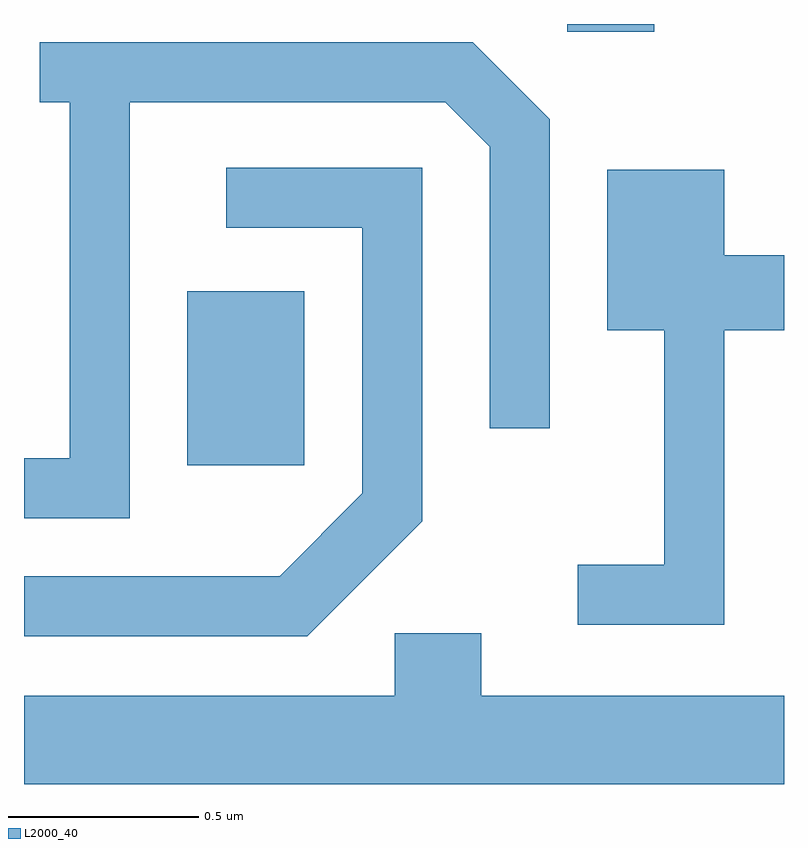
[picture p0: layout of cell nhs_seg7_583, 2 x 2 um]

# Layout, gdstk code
import gdstk
lib = gdstk.Library(unit=1e-6, precision=1e-09)
def R(c, l, rs):  # rectangles x0, y0, x1, y1
    for r in rs: c.add(gdstk.rectangle(r[:2], r[2:], *l))
def P(c, l, *ps):  # polygons
    for p in ps: c.add(gdstk.Polygon(p, *l))
L2000_40 = (2000, 40)

nhs_seg7_583 = lib.new_cell('nhs_seg7_583')
R(nhs_seg7_583, L2000_40, [(190.041,1704.091,190.349,1704.549), (191.041,1705.231,191.269,1705.252)])
P(nhs_seg7_583, L2000_40, [(189.889,1705.046),(190.719,1705.046),(190.836,1704.929),(190.836,1704.188),(190.994,1704.188),(190.994,1705.002),(190.792,1705.204),(189.653,1705.204),(189.653,1705.046),(189.731,1705.046),(189.731,1704.109),(189.611,1704.109),(189.611,1703.951),(189.889,1703.951)],
  [(190.659,1703.944),(190.659,1704.874),(190.143,1704.874),(190.143,1704.716),(190.501,1704.716),(190.501,1704.017),(190.284,1703.799),(189.611,1703.799),(189.611,1703.641),(190.357,1703.641)],
  [(191.454,1704.446),(191.611,1704.446),(191.611,1704.644),(191.454,1704.644),(191.454,1704.869),(191.146,1704.869),(191.146,1704.446),(191.296,1704.446),(191.296,1703.829),(191.068,1703.829),(191.068,1703.671),(191.454,1703.671)],
  [(191.611,1703.484),(190.814,1703.484),(190.814,1703.649),(190.586,1703.649),(190.586,1703.484),(189.611,1703.484),(189.611,1703.252),(191.611,1703.252)])

lib.write_gds('nhs_seg7_583.gds')
